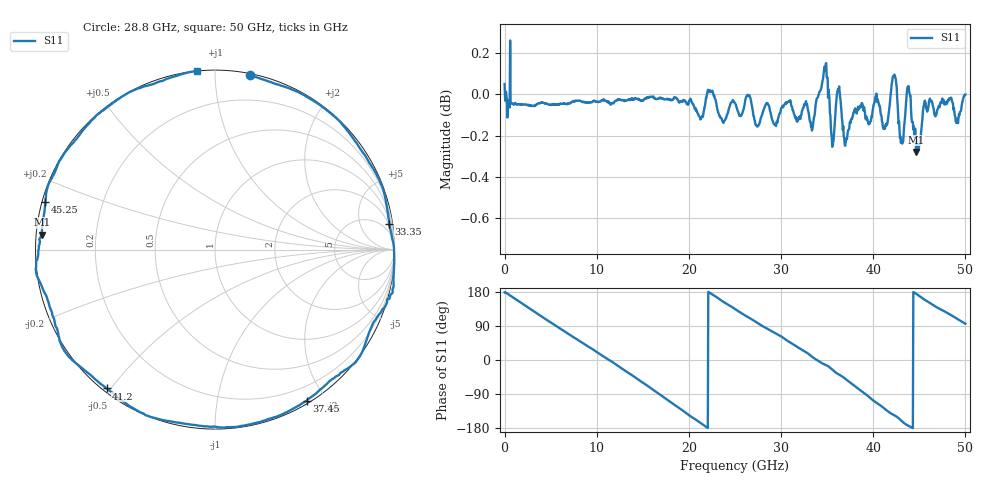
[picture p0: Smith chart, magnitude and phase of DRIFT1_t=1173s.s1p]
!Created with skrf (http://scikit-rf.org).
# Hz S RI R 50.0
!freq ReS11 ImS11
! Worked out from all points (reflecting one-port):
!   1001 points, 300 kHz to 50 GHz, reference 50 ohm
!   lowest |S11| = -0.3 dB at 44.65 GHz (marker M1), VSWR 62.14, Z = 0.806 + j2.17 ohm
!   phase of S11 starts at 178 deg and turns -803 deg over the sweep
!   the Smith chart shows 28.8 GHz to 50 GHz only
!   S11 on the Smith chart (normalised r, x): 28.8 GHz: 0.01, +1.22; 33.35 GHz: 2, +13; 37.45 GHz: 0.03, -1.78; 41.2 GHz: 0.01, -0.49; 45.25 GHz: 0.01, +0.14; 50 GHz: 0.00, +0.90
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300000  -1.005 0.027
1.70029e9  -0.8803 0.4627
3.550279e9  -0.5297 0.8418
6.250262e9  0.181 0.9783
7.950252e9  0.5981 0.7971
9.800241e9  0.9099 0.4058
1.250022e10  0.9437 -0.3221
1.400022e10  0.7298 -0.6793
1.59002e10  0.2626 -0.9636
1.72502e10  -0.1352 -0.9882
1.875019e10  -0.5481 -0.8334
2.025018e10  -0.8605 -0.5024
2.200017e10  -1.001 -0.0255
2.500015e10  -0.6984 0.7088
2.670014e10  -0.3274 0.9422
2.880013e10  0.1947 0.9716
3.125011e10  0.735 0.6651
3.33501e10  0.9692 0.1447
3.505009e10  0.9715 -0.2742
3.745008e10  0.5107 -0.8414
3.750008e10  0.4975 -0.8501
3.920006e10  -0.0105 -0.9862
4.120005e10  -0.604 -0.7738
4.375004e10  -0.996 -0.1291
4.465003e10  -0.9647 0.0839
4.525003e10  -0.9453 0.2659
4.730002e10  -0.686 0.7215
5e10  -0.1019 0.9947
